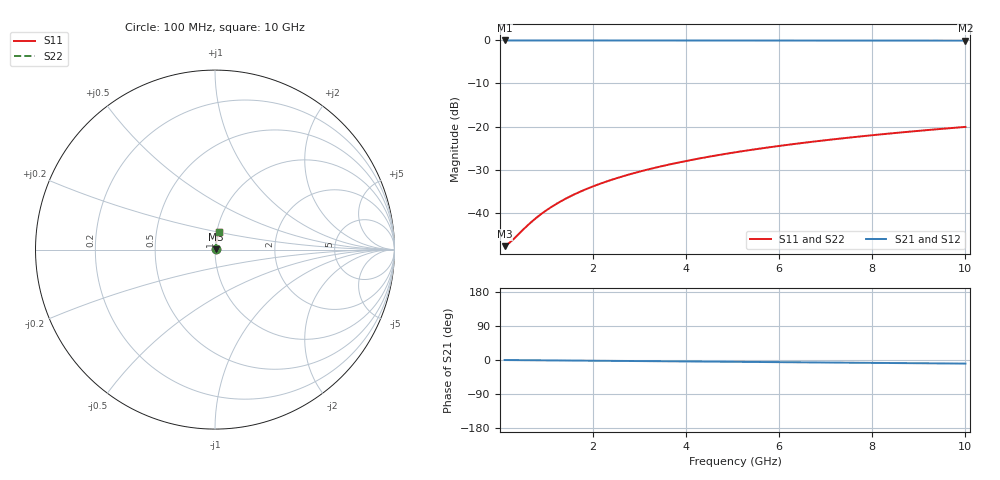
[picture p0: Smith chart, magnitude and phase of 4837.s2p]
# Hz S RI R 50.00
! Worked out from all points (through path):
!   100 points, 100 MHz to 10 GHz, reference 50 ohm
!   highest |S21| = -0.03 dB at 100 MHz (marker M1); lowest = -0.1 dB at 10 GHz (marker M2)
!   group delay of S21, straight-line fit = 2.63 ps
!   lowest |S11| = -47.7 dB at 100 MHz (marker M3), VSWR 1.01, Z = 50.4 + j0.0998 ohm
!   |S11| at or under -10 dB: start of sweep to end of sweep
!   |S22| runs from -47.7 to -20.1 dB; largest |S21 - S12| = 0
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1e8  0.00402 0.00099  0.996 -0.00164  0.996 -0.00164  0.00402 0.00099
2e8  0.00405 0.00198  0.9959 -0.00329  0.9959 -0.00329  0.00405 0.00198
3e8  0.00407 0.00297  0.9959 -0.00493  0.9959 -0.00493  0.00407 0.00297
6e8  0.00416 0.00594  0.9958 -0.00986  0.9958 -0.00986  0.00416 0.00594
7e8  0.00419 0.00693  0.9958 -0.0115  0.9958 -0.0115  0.00419 0.00693
8e8  0.00423 0.00791  0.9958 -0.0132  0.9958 -0.0132  0.00423 0.00791
1e9  0.0043 0.00989  0.9957 -0.0164  0.9957 -0.0164  0.0043 0.00989
1.2e9  0.00439 0.0119  0.9956 -0.0197  0.9956 -0.0197  0.00439 0.0119
1.4e9  0.00449 0.0138  0.9955 -0.023  0.9955 -0.023  0.00449 0.0138
1.6e9  0.0046 0.0158  0.9953 -0.0263  0.9953 -0.0263  0.0046 0.0158
1.8e9  0.00472 0.0178  0.9952 -0.0296  0.9952 -0.0296  0.00472 0.0178
2.1e9  0.00493 0.0208  0.995 -0.0345  0.995 -0.0345  0.00493 0.0208
2.5e9  0.00525 0.0247  0.9946 -0.0411  0.9946 -0.0411  0.00525 0.0247
2.9e9  0.00562 0.0286  0.9942 -0.0476  0.9942 -0.0476  0.00562 0.0286
3.4e9  0.00615 0.0336  0.9936 -0.0558  0.9936 -0.0558  0.00615 0.0336
4.2e9  0.00717 0.0414  0.9924 -0.0689  0.9924 -0.0689  0.00717 0.0414
5.1e9  0.00857 0.0502  0.9908 -0.0837  0.9908 -0.0837  0.00857 0.0502
5.9e9  0.01 0.058  0.9892 -0.0967  0.9892 -0.0967  0.01 0.058
6.7e9  0.0117 0.0657  0.9873 -0.1097  0.9873 -0.1097  0.0117 0.0657
7.5e9  0.0136 0.0735  0.9852 -0.1227  0.9852 -0.1227  0.0136 0.0735
8.4e9  0.0159 0.0821  0.9825 -0.1373  0.9825 -0.1373  0.0159 0.0821
1e10  0.0207 0.0972  0.9771 -0.163  0.9771 -0.163  0.0207 0.0972
